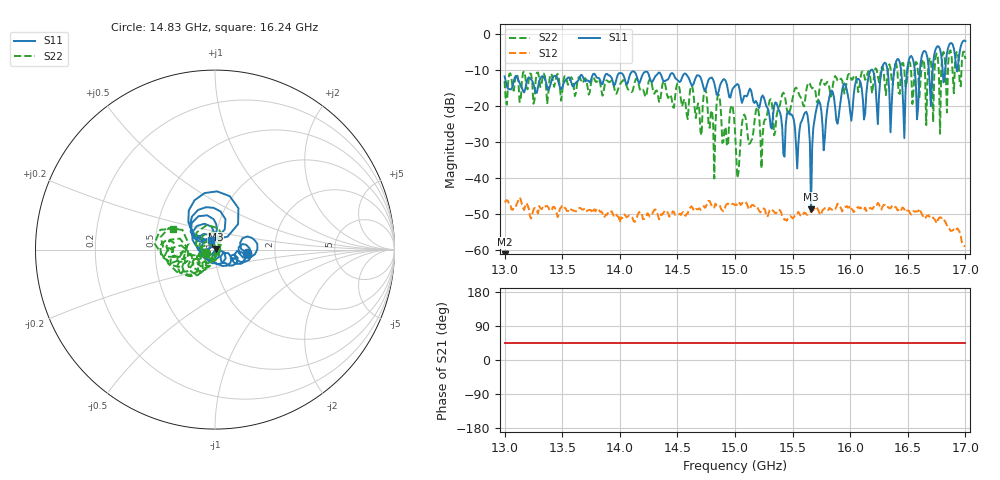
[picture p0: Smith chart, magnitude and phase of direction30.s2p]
!Keysight Technologies,P9374A,MY57211810,A.19.30.04
!Date: Friday, May 02, 2025 09:02:53
!Correction: S11(Off)
!S21(Off)
!S12(Off)
!S22(Off)
!S2P File: Measurements: S11, S21, S12, S22:
# Hz S  dB  R 50
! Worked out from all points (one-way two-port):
!   401 points, 13 GHz to 17 GHz, reference 50 ohm
!   highest |S21| = - dB at 13 GHz (marker M1); lowest = - dB at 13 GHz (marker M2)
!   lowest |S11| = -48.7 dB at 15.66 GHz (marker M3), VSWR 1.01, Z = 50.3 + j0.128 ohm
!   |S11| at or under -10 dB: start of sweep to 16.18 GHz; 16.19525 GHz to 16.2735 GHz (78.24 MHz wide, 0.482 % of centre); 16.32368 GHz to 16.38272 GHz (59.04 MHz wide, 0.361 % of centre) (the widest 3 of 8)
!   |S22| runs from -40.1 to -4.4 dB; largest |S21 - S12| = 0.0054
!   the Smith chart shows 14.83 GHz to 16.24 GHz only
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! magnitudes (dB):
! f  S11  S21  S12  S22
! 13 GHz  -11.7  -  -46.7  -13.0
! 13.67 GHz  -11.3  -  -48.7  -13.4
! 14.34 GHz  -10.6  -  -51.4  -18.7
! 15 GHz  -14.3  -  -47.5  -26.7
! 15.54 GHz  -37.3  -  -49.8  -15.2
! 15.61 GHz  -21.7  -  -49.7  -17.9
! 15.66 GHz  -48.7  -  -49.2  -14.5
! 15.67 GHz  -31.2  -  -49.1  -15.0
! 15.71 GHz  -20.3  -  -48.2  -18.7
! 15.78 GHz  -28.8  -  -48.4  -14.1
! 15.84 GHz  -15.6  -  -48.7  -16.9
! 16.19 GHz  -9.8  -  -48.6  -16.4
! 16.24 GHz  -25.0  -  -46.9  -11.7
! 16.3 GHz  -7.9  -  -47.5  -13.9
! 16.34 GHz  -16.2  -  -48.4  -8.3
! 16.41 GHz  -6.8  -  -49.0  -10.2
! 16.47 GHz  -28.8  -  -48.8  -10.0
! 16.52 GHz  -6.2  -  -49.9  -7.9
! 16.58 GHz  -23.6  -  -49.2  -8.0
! 16.64 GHz  -4.6  -  -50.8  -7.5
! 16.7 GHz  -20.0  -  -51.3  -7.2
! 17 GHz  -1.9  -  -58.9  -6.9
